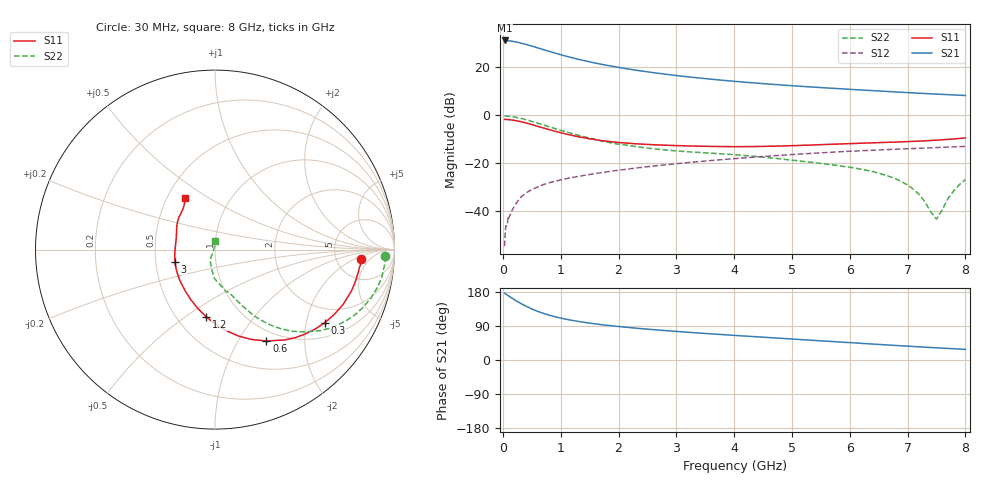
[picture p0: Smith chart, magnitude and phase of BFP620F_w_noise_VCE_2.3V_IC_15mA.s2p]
! Infineon Technologies  Discrete & RF Semiconductors
! BFP620F
! VCE =  2.3 V,  IC =  15 mA
! Common Emitter S-Parameters:  Dec 2014
# GHz  S  MA  R  50
!  f  S11  S21  S12  S22
! GHz  MAG  ANG  MAG  ANG  MAG  ANG  MAG  ANG
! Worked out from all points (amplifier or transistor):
!   95 points, 30 MHz to 8 GHz, reference 50 ohm
!   highest |S21| = 31.0 dB at 30 MHz (marker M1)
!   |S21| within 3 dB of that: start of sweep to 592 MHz
!   unconditionally stable (mu >= 1): 3.224 GHz to end of sweep
!   at 300 MHz: K = 0.30, MSG = 32.2 dB, |S12| = -34.4 dB
!   at 3.3 GHz: K = 1.00, MAG = 17.3 dB, |S12| = -19.5 dB
!   at 8 GHz: K = 1.07, MAG = 8.9 dB, |S12| = -13.0 dB
!   lowest NFmin = 0.71 dB at 450 MHz
!   S11 on the Smith chart (normalised r, x): 30 MHz: 8.94, -2.63; 300 MHz: 1.45, -2.57; 600 MHz: 0.86, -1.33; 1.2 GHz: 0.69, -0.61; 3 GHz: 0.63, -0.09; 8 GHz: 0.61, +0.40
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0.03  0.8135 -3.5  35.43 176.2  0.0019 38.5  0.9468 -2.3
0.08  0.8077 -9.4  35.14 171.1  0.0057 59.5  0.945 -6.8
0.15  0.7921 -17.5  34.26 164.1  0.0101 71.5  0.9298 -13.0
0.25  0.7563 -28.5  32.53 154.5  0.016 71.2  0.887 -21.1
0.3  0.735 -33.7  31.53 150.1  0.0191 70.0  0.8609 -24.9
0.4  0.6857 -43.6  29.37 141.9  0.0241 67.5  0.8004 -31.7
0.45  0.6619 -48.0  28.2 138.3  0.0263 66.0  0.7721 -34.7
0.6  0.5844 -60.6  24.91 128.5  0.0321 63.6  0.6793 -42.5
0.7  0.5404 -67.9  22.9 123.1  0.0362 61.6  0.6241 -46.8
0.9  0.4627 -80.8  19.39 114.2  0.0422 59.7  0.5258 -53.4
1  0.431 -86.7  17.93 110.6  0.0452 59.0  0.4846 -55.9
1.2  0.3784 -97.3  15.49 104.5  0.0507 58.3  0.4139 -60.2
1.4  0.3393 -107.0  13.57 99.6  0.0558 57.7  0.357 -63.5
1.6  0.3091 -116.1  12.04 95.3  0.061 57.3  0.3117 -66.6
1.9  0.2773 -128.5  10.27 90.0  0.0691 56.9  0.2607 -70.9
2.7  0.2398 -155.3  7.346 79.0  0.09 54.8  0.1944 -82.4
3  0.2325 -163.4  6.636 75.4  0.0979 53.7  0.1807 -85.9
4.1  0.2214 172.8  4.913 64.0  0.1272 49.3  0.1474 -93.2
5.4  0.2408 152.7  3.792 51.6  0.162 42.4  0.1025 -101.1
6.7  0.2729 135.8  3.069 39.2  0.1934 34.4  0.0523 -115.9
7.5  0.302 124.7  2.726 32.2  0.2117 29.8  0.0069 158.1
8  0.3351 120.0  2.552 28.0  0.2238 26.5  0.0458 87.2
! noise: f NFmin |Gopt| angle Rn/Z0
0.45  0.71  0.15  6  0.2
0.9  0.77  0.14  18  0.18
1.5  0.82  0.13  20  0.13
1.8  0.85  0.13  21  0.11
1.9  0.86  0.09  36  0.14
2.4  0.9  0.08  52  0.12
3.5  0.98  0.06  85  0.13
5.5  1.13  0.11  208  0.08
6  1.17  0.11  235  0.13
